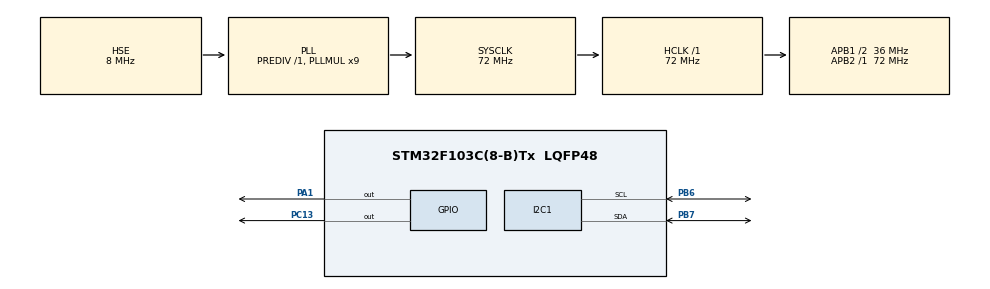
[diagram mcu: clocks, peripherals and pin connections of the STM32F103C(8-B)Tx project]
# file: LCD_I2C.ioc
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Mcu.Family=STM32F1
Mcu.Name=STM32F103C(8-B)Tx
Mcu.Package=LQFP48
NVIC.PriorityGroup=NVIC_PRIORITYGROUP_4
PA1.GPIO_PuPd=GPIO_NOPULL
PA1.Signal=GPIO_Output
PA13.Mode=Serial_Wire
PA13.Signal=SYS_JTMS-SWDIO
PA14.Mode=Serial_Wire
PA14.Signal=SYS_JTCK-SWCLK
PB6.Mode=I2C
PB6.Signal=I2C1_SCL
PB7.Mode=I2C
PB7.Signal=I2C1_SDA
PC13-TAMPER-RTC.Signal=GPIO_Output
PD0-OSC_IN.Mode=HSE-External-Oscillator
PD0-OSC_IN.Signal=RCC_OSC_IN
PD1-OSC_OUT.Mode=HSE-External-Oscillator
PD1-OSC_OUT.Signal=RCC_OSC_OUT
ProjectManager.HeapSize=0x200
ProjectManager.StackSize=0x400
ProjectManager.TargetToolchain=Makefile
RCC.AHBFreq_Value=72000000
RCC.APB1CLKDivider=RCC_HCLK_DIV2
RCC.APB1Freq_Value=36000000
RCC.APB1TimFreq_Value=72000000
RCC.APB2Freq_Value=72000000
RCC.APB2TimFreq_Value=72000000
RCC.HCLKFreq_Value=72000000
RCC.PLLMUL=RCC_PLL_MUL9
RCC.PLLSourceVirtual=RCC_PLLSOURCE_HSE
RCC.SYSCLKFreq_VALUE=72000000
RCC.SYSCLKSource=RCC_SYSCLKSOURCE_PLLCLK
RCC.USBFreq_Value=72000000
TIM1.Period=65535
TIM1.Prescaler=72-1
VP_TIM1_VS_ClockSourceINT.Mode=Internal
board=custom

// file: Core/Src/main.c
/* USER CODE BEGIN Header */
/**
  ******************************************************************************
  * @file           : main.c
  * @brief          : Main program body
  ******************************************************************************
  * @attention
  *
  * Copyright (c) 2022 STMicroelectronics.
  * All rights reserved.
  *
  * This software is licensed under terms that can be found in the LICENSE file
  * in the root directory of this software component.
  * If no LICENSE file comes with this software, it is provided AS-IS.
  *
  ******************************************************************************
  */
/* USER CODE END Header */
#include "main.h"
#include "i2c.h"
#include "tim.h"
#include "gpio.h"

/* USER CODE BEGIN Includes */
#include "i2c-lcd.h"
#include "dht11.h"
#include<string.h>
/* USER CODE END Includes */

/* USER CODE BEGIN PV */
uint8_t Rh_byte1, Rh_byte2, Temp_byte1, Temp_byte2;
uint16_t SUM, RH, TEMP;
float Temperature = 0;
float Humidity = 0;
uint8_t Presence;
//TIM_HandleTypeDef htim1;
/* USER CODE END PV */

void SystemClock_Config(void);

int main(void)
{

  /* MCU Configuration--------------------------------------------------------*/

  /* Reset of all peripherals, Initializes the Flash interface and the Systick. */
  HAL_Init();

  /* Configure the system clock */
  SystemClock_Config();

  /* Initialize all configured peripherals */
  MX_GPIO_Init();
  MX_I2C1_Init();
  MX_TIM1_Init();
  /* USER CODE BEGIN 2 */
  HAL_TIM_Base_Start(&htim1);
  // lcd_init();
  // lcd_clear_display();
  /* USER CODE END 2 */

  /* Infinite loop */
  while (1)
  {

    /* USER CODE BEGIN 3 */
    // HAL_GPIO_TogglePin(GPIOC, GPIO_PIN_13);
    // delay(60000);
    DHT11_Start();
    Presence = DHT11_Check_Response();
    Rh_byte1 = DHT11_Read();
    Rh_byte2 = DHT11_Read();
    Temp_byte1 = DHT11_Read();
    Temp_byte2 = DHT11_Read();
    SUM = DHT11_Read();

    TEMP = Temp_byte1;
    RH = Rh_byte1;

    Temperature = (float)TEMP;
    Humidity = (float)RH;
    // lcd_send_float_number(Temperature, 2);
    // lcd_goto_XY(2,0);
    // lcd_send_float_number(Humidity, 2);
    // HAL_Delay(2000);
  }
  /* USER CODE END 3 */
}

void SystemClock_Config(void)
{
  RCC_OscInitTypeDef RCC_OscInitStruct = {0};
  RCC_ClkInitTypeDef RCC_ClkInitStruct = {0};

  /** Initializes the RCC Oscillators according to the specified parameters
  * in the RCC_OscInitTypeDef structure.
  */
  RCC_OscInitStruct.OscillatorType = RCC_OSCILLATORTYPE_HSE;
  RCC_OscInitStruct.HSEState = RCC_HSE_ON;
  RCC_OscInitStruct.HSEPredivValue = RCC_HSE_PREDIV_DIV1;
  RCC_OscInitStruct.HSIState = RCC_HSI_ON;
  RCC_OscInitStruct.PLL.PLLState = RCC_PLL_ON;
  RCC_OscInitStruct.PLL.PLLSource = RCC_PLLSOURCE_HSE;
  RCC_OscInitStruct.PLL.PLLMUL = RCC_PLL_MUL9;
  if (HAL_RCC_OscConfig(&RCC_OscInitStruct) != HAL_OK)
  {
    Error_Handler();
  }

  /** Initializes the CPU, AHB and APB buses clocks
  */
  RCC_ClkInitStruct.ClockType = RCC_CLOCKTYPE_HCLK|RCC_CLOCKTYPE_SYSCLK
                              |RCC_CLOCKTYPE_PCLK1|RCC_CLOCKTYPE_PCLK2;
  RCC_ClkInitStruct.SYSCLKSource = RCC_SYSCLKSOURCE_PLLCLK;
  RCC_ClkInitStruct.AHBCLKDivider = RCC_SYSCLK_DIV1;
  RCC_ClkInitStruct.APB1CLKDivider = RCC_HCLK_DIV2;
  RCC_ClkInitStruct.APB2CLKDivider = RCC_HCLK_DIV1;

  if (HAL_RCC_ClockConfig(&RCC_ClkInitStruct, FLASH_LATENCY_2) != HAL_OK)
  {
    Error_Handler();
  }
}

void Error_Handler(void)
{
  __disable_irq();
  while (1)
  {
  }
}
